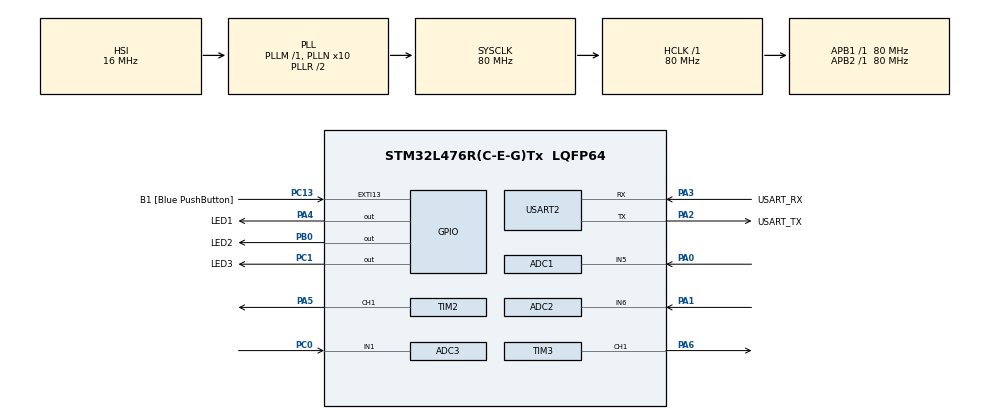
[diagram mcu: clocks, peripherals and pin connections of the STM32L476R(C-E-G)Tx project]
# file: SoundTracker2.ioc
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ADC1.Channel-1\#ChannelRegularConversion=ADC_CHANNEL_5
ADC1.ContinuousConvMode=DISABLE
ADC1.DMAContinuousRequests=ENABLE
ADC1.NbrOfConversionFlag=1
ADC1.OffsetNumber-1\#ChannelRegularConversion=ADC_OFFSET_NONE
ADC1.Rank-1\#ChannelRegularConversion=1
ADC1.SamplingTime-1\#ChannelRegularConversion=ADC_SAMPLETIME_2CYCLES_5
ADC1.master=1
ADC2.Channel-0\#ChannelRegularConversion=ADC_CHANNEL_6
ADC2.ContinuousConvMode=DISABLE
ADC2.DMAContinuousRequests=DISABLE
ADC2.NbrOfConversionFlag=1
ADC2.OffsetNumber-0\#ChannelRegularConversion=ADC_OFFSET_NONE
ADC2.Rank-0\#ChannelRegularConversion=1
ADC2.SamplingTime-0\#ChannelRegularConversion=ADC_SAMPLETIME_2CYCLES_5
ADC3.Channel-0\#ChannelRegularConversion=ADC_CHANNEL_1
ADC3.ContinuousConvMode=DISABLE
ADC3.DMAContinuousRequests=DISABLE
ADC3.NbrOfConversionFlag=1
ADC3.OffsetNumber-0\#ChannelRegularConversion=ADC_OFFSET_NONE
ADC3.Rank-0\#ChannelRegularConversion=1
ADC3.SamplingTime-0\#ChannelRegularConversion=ADC_SAMPLETIME_2CYCLES_5
Dma.ADC1.0.Direction=DMA_PERIPH_TO_MEMORY
Dma.ADC1.0.Instance=DMA1_Channel1
Dma.ADC1.0.MemDataAlignment=DMA_MDATAALIGN_HALFWORD
Dma.ADC1.0.MemInc=DMA_MINC_ENABLE
Dma.ADC1.0.Mode=DMA_CIRCULAR
Dma.ADC1.0.PeriphDataAlignment=DMA_PDATAALIGN_HALFWORD
Dma.ADC1.0.PeriphInc=DMA_PINC_DISABLE
Dma.ADC1.0.Priority=DMA_PRIORITY_HIGH
Dma.Request0=ADC1
Mcu.Family=STM32L4
Mcu.Name=STM32L476R(C-E-G)Tx
Mcu.Package=LQFP64
NVIC.DMA1_Channel1_IRQn=true\:0\:0\:false\:false\:true\:false\:true\:true
NVIC.PriorityGroup=NVIC_PRIORITYGROUP_4
PA0.Signal=ADCx_IN5
PA1.Signal=ADCx_IN6
PA13\ (JTMS-SWDIO).GPIO_Label=TMS
PA13\ (JTMS-SWDIO).Mode=Serial_Wire
PA13\ (JTMS-SWDIO).Signal=SYS_JTMS-SWDIO
PA14\ (JTCK-SWCLK).GPIO_Label=TCK
PA14\ (JTCK-SWCLK).Mode=Serial_Wire
PA14\ (JTCK-SWCLK).Signal=SYS_JTCK-SWCLK
PA2.GPIO_Label=USART_TX
PA2.GPIO_Mode=GPIO_MODE_AF_PP
PA2.GPIO_PuPd=GPIO_NOPULL
PA2.GPIO_Speed=GPIO_SPEED_FREQ_VERY_HIGH
PA2.Mode=Asynchronous
PA2.Signal=USART2_TX
PA3.GPIO_Label=USART_RX
PA3.GPIO_Mode=GPIO_MODE_AF_PP
PA3.GPIO_PuPd=GPIO_NOPULL
PA3.GPIO_Speed=GPIO_SPEED_FREQ_VERY_HIGH
PA3.Mode=Asynchronous
PA3.Signal=USART2_RX
PA4.GPIO_Label=LED1
PA4.Signal=GPIO_Output
PA5.Signal=S_TIM2_CH1
PA6.Signal=S_TIM3_CH1
PB0.GPIO_Label=LED2
PB0.Signal=GPIO_Output
PB3\ (JTDO-TRACESWO).GPIO_Label=SWO
PB3\ (JTDO-TRACESWO).Signal=SYS_JTDO-SWO
PC0.Signal=ADCx_IN1
PC1.GPIO_Label=LED3
PC1.Signal=GPIO_Output
PC13.GPIO_Label=B1 [Blue PushButton]
PC13.GPIO_ModeDefaultEXTI=GPIO_MODE_IT_FALLING
PC13.GPIO_PuPd=GPIO_NOPULL
PC13.Signal=GPXTI13
PC14-OSC32_IN\ (PC14).Mode=LSE-External-Oscillator
PC14-OSC32_IN\ (PC14).Signal=RCC_OSC32_IN
PC15-OSC32_OUT\ (PC15).Mode=LSE-External-Oscillator
PC15-OSC32_OUT\ (PC15).Signal=RCC_OSC32_OUT
PH0-OSC_IN\ (PH0).Signal=RCC_OSC_IN
PH1-OSC_OUT\ (PH1).Signal=RCC_OSC_OUT
ProjectManager.HeapSize=0x200
ProjectManager.StackSize=0x400
ProjectManager.TargetToolchain=STM32CubeIDE
RCC.ADCFreq_Value=64000000
RCC.AHBFreq_Value=80000000
RCC.APB1Freq_Value=80000000
RCC.APB1TimFreq_Value=80000000
RCC.APB2Freq_Value=80000000
RCC.APB2TimFreq_Value=80000000
RCC.CortexFreq_Value=80000000
RCC.HCLKFreq_Value=80000000
RCC.HSE_VALUE=8000000
RCC.HSI_VALUE=16000000
RCC.MSI_VALUE=4000000
RCC.PLLN=10
RCC.PLLSourceVirtual=RCC_PLLSOURCE_HSI
RCC.PREFETCH_ENABLE=1
RCC.SYSCLKFreq_VALUE=80000000
RCC.SYSCLKSource=RCC_SYSCLKSOURCE_PLLCLK
RCC.USBFreq_Value=64000000
RCC.VCOOutputFreq_Value=160000000
SH.ADCx_IN1.0=ADC3_IN1,IN1-Single-Ended
SH.ADCx_IN5.0=ADC1_IN5,IN5-Single-Ended
SH.ADCx_IN6.0=ADC2_IN6,IN6-Single-Ended
SH.S_TIM2_CH1.0=TIM2_CH1,PWM Generation1 CH1
SH.S_TIM3_CH1.0=TIM3_CH1,PWM Generation1 CH1
TIM2.Channel-PWM\ Generation1\ CH1=TIM_CHANNEL_1
TIM2.Period=20000
TIM2.Prescaler=71
TIM2.Pulse-PWM\ Generation1\ CH1=0
TIM3.Channel-PWM\ Generation1\ CH1=TIM_CHANNEL_1
TIM3.Period=20000
TIM3.Prescaler=71
TIM3.Pulse-PWM\ Generation1\ CH1=600
USART2.VirtualMode-Asynchronous=VM_ASYNC
board=NUCLEO-L476RG

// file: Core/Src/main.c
/* USER CODE BEGIN Header */
/**
  ******************************************************************************
  * @file           : main.c
  * @brief          : Main program body
  ******************************************************************************
  * @attention
  *
  * Copyright (c) 2025 STMicroelectronics.
  * All rights reserved.
  *
  * This software is licensed under terms that can be found in the LICENSE file
  * in the root directory of this software component.
  * If no LICENSE file comes with this software, it is provided AS-IS.
  *
  ******************************************************************************
  */
/* USER CODE END Header */
#include "main.h"

ADC_HandleTypeDef hadc1;
ADC_HandleTypeDef hadc2;
ADC_HandleTypeDef hadc3;
DMA_HandleTypeDef hdma_adc1;

TIM_HandleTypeDef htim2;
TIM_HandleTypeDef htim3;

UART_HandleTypeDef huart2;

/* USER CODE BEGIN PV */

#define BUFFER_SIZE 1  // Buffer size for ADC data
uint16_t adc_buffer[BUFFER_SIZE];  // ADC1 data storage
uint16_t adc_buffer2[BUFFER_SIZE];  // ADC2 data storage
uint16_t adc_buffer3[BUFFER_SIZE];  // ADC3 data storage

#ifndef M_PI
#define M_PI 3.14159265358979323846
#endif

volatile int current_adc = 0;
volatile uint8_t adc_busy = 0;

// At the top of your file
uint32_t mic1Time = 0;
uint32_t mic2Time = 0;
uint32_t mic3Time = 0;

/* USER CODE END PV */

void SystemClock_Config(void);
void PeriphCommonClock_Config(void);
static void MX_GPIO_Init(void);
static void MX_DMA_Init(void);
static void MX_USART2_UART_Init(void);
static void MX_ADC1_Init(void);
static void MX_ADC2_Init(void);
static void MX_ADC3_Init(void);
static void MX_TIM2_Init(void);
static void MX_TIM3_Init(void);

/* USER CODE BEGIN 0 */

uint32_t getMicroTime(void) {
    return DWT->CYCCNT / (HAL_RCC_GetHCLKFreq() / 1000000);
}

/* USER CODE END 0 */

int main(void)
{

  /* USER CODE BEGIN 1 */

	// Enable DWT for microsecond timing
	CoreDebug->DEMCR |= CoreDebug_DEMCR_TRCENA_Msk;
	DWT->CYCCNT = 0;
	DWT->CTRL |= DWT_CTRL_CYCCNTENA_Msk;

  /* USER CODE END 1 */

  /* MCU Configuration--------------------------------------------------------*/

  /* Reset of all peripherals, Initializes the Flash interface and the Systick. */
  HAL_Init();

  /* Configure the system clock */
  SystemClock_Config();

  /* Configure the peripherals common clocks */
  PeriphCommonClock_Config();

  /* Initialize all configured peripherals */
  MX_GPIO_Init();
  MX_DMA_Init();
  MX_USART2_UART_Init();
  MX_ADC1_Init();
  MX_ADC2_Init();
  MX_ADC3_Init();
  MX_TIM2_Init();
  MX_TIM3_Init();
  /* USER CODE BEGIN 2 */

  HAL_TIM_PWM_Start(&htim2, TIM_CHANNEL_1);
  HAL_TIM_PWM_Start(&htim3, TIM_CHANNEL_1);

  //reset the motors to 0 on startup
	__HAL_TIM_SET_COMPARE(&htim2, TIM_CHANNEL_1, 600);
	__HAL_TIM_SET_COMPARE(&htim3, TIM_CHANNEL_1, 600);

  /* USER CODE END 2 */

  /* Infinite loop */
  while (1)
  {

    /* USER CODE BEGIN 3 */

	  	//start analog to digital control for mics
	    uint32_t adc_val1, adc_val2, adc_val3;
	    uint32_t now = HAL_GetTick();
	    // --- ADC1 ---
	    HAL_ADC_Start(&hadc1);
	    // --- ADC2 ---
	    HAL_ADC_Start(&hadc2);
	    // --- ADC3 ---
	    HAL_ADC_Start(&hadc3);

	    // Clear LEDs every .5 seconds
	    // reset trigger timer so mics don't sample while the motors are turning
	    static uint32_t last_trigger = 0;
	    if (now - last_trigger >= 500) {
	        HAL_GPIO_WritePin(LED1_GPIO_Port, LED1_Pin, 0);
	        HAL_GPIO_WritePin(LED2_GPIO_Port, LED2_Pin, 0);
	        HAL_GPIO_WritePin(LED3_GPIO_Port, LED3_Pin, 0);
	        last_trigger = 0;
	    }

	    //Sample all three mics as fast as the while loop can go
	    //When mic1 hears a loud sound, record the time in milliseconds
	    if (HAL_ADC_PollForConversion(&hadc1, 1) == HAL_OK && !mic1Time && !last_trigger) {
	        adc_val1 = HAL_ADC_GetValue(&hadc1);
	        if (adc_val1 <= 500 || adc_val1 >= 2500) {
	            mic1Time = getMicroTime();
	        }
	    }

	    //When mic2 hears a loud sound, record the time in milliseconds
	    if (HAL_ADC_PollForConversion(&hadc2, 1) == HAL_OK && !mic2Time && !last_trigger) {
	        adc_val2 = HAL_ADC_GetValue(&hadc2);
	        if (adc_val2 <= 500 || adc_val2 >= 2500) {
	            mic2Time = getMicroTime();
	        }
	    }

	    //When mic3 hears a loud sound, record the time in milliseconds
	    if (HAL_ADC_PollForConversion(&hadc3, 1) == HAL_OK && !mic3Time && !last_trigger) {
	        adc_val3 = HAL_ADC_GetValue(&hadc3);
	        if (adc_val3 <= 500 || adc_val3 >= 2500) {
	            mic3Time = getMicroTime();
	        }
	    }

	    // if all mics have heard a loud sound:
	    //use the time differences to calculate the angle the sound came from,
	    //pause sampling and indicate the pause with an led
	    //point the servo motors in the direction of the sound using pwm
	    if (mic1Time && mic2Time && mic3Time){

	    	//turn on a light to indicate which mic heard the sound first.
	    	if (mic1Time <= mic2Time && mic1Time <= mic3Time){
	    		HAL_GPIO_WritePin(LED1_GPIO_Port, LED1_Pin, 1);
	    	}
	    	else if (mic2Time <= mic1Time && mic2Time <= mic3Time){
	    		HAL_GPIO_WritePin(LED2_GPIO_Port, LED2_Pin, 1);
	    	}
	    	else if (mic3Time <= mic2Time && mic3Time <= mic1Time){
	    		HAL_GPIO_WritePin(LED3_GPIO_Port, LED3_Pin, 1);
	    	}

	    	//convert micro seconds into seconds for the calculation
	    	float mic1Seconds = mic1Time / 1e6f;
	    	float mic2Seconds = mic2Time / 1e6f;
	    	float mic3Seconds = mic3Time / 1e6f;

	    	//determine weights for the weighted average based on when each mic heard the sound
	    	float w1 = 1.0f / (mic1Seconds + 1e-6f);
	    	float w2 = 1.0f / (mic2Seconds + 1e-6f);
	    	float w3 = 1.0f / (mic3Seconds + 1e-6f);

	    	//mic1 is located at 0 degrees. Use this to determine where it is relative to the others
	    	float mic1x = cosf(0.0f * M_PI / 180.0f);
	    	float mic1y = sinf(0.0f * M_PI / 180.0f);

	    	//mic2 is located at 120 degrees. Use this to determine where it is relative to the others
	    	float mic2x = cosf(120.0f * M_PI / 180.0f);
	    	float mic2y = sinf(120.0f * M_PI / 180.0f);

	    	//mic3 is located at 240 degrees. Use this to determine where it is relative to the others
	    	float mic3x = cosf(240.0f * M_PI / 180.0f);
	    	float mic3y = sinf(240.0f * M_PI / 180.0f);

	    	//create a vector pointed in the direction of the sound based off the weighted averages
	    	float dx = (w1 * mic1x + w2 * mic2x + w3 * mic3x);
	    	float dy = (w1 * mic1y + w2 * mic2y + w3 * mic3y);

	    	//use inverse tangent to calculate the angle of the vector (the direction of the sound)
	    	float angle_rad = atan2f(dy, dx);
	    	//convert to degrees
	    	float angle_deg = angle_rad * 180.0f / M_PI;
	    	if (angle_deg < 0) angle_deg += 360.0f;

	    	//since the servo motors can only turn 180 degrees, we need a stack of two to achieve 360 range.
	    	//turn the first motor to the calculated angle if the angle is less than 180
	    	if (angle_deg < 180){
	    		uint16_t pulse = 600 + (angle_deg * 2250) / 180; //map the angle to a valid pwm signal
	    		__HAL_TIM_SET_COMPARE(&htim3, TIM_CHANNEL_1, 600); //set the second motor to angle 0
	    		__HAL_TIM_SET_COMPARE(&htim2, TIM_CHANNEL_1, pulse); //set the first motor to the calculated angle
	    	}
	    	else{
	    		//if the angle is greater than 180, turn the first motor all the way, and then make up the difference with the second motor
	    		uint16_t pulse = 600 + ((angle_deg - 180) * 2250) / 180; //map the angle to a valid pwm signal
	    		__HAL_TIM_SET_COMPARE(&htim2, TIM_CHANNEL_1, 2850); //turn the first motor all the way
	    		__HAL_TIM_SET_COMPARE(&htim3, TIM_CHANNEL_1, pulse); //set the second motor to the calculated angle
	    	}

	    	//reset variables so that the mics can start sampling again after the timer is done
	    	last_trigger = now;
	    	mic1Time = 0;
	    	mic2Time = 0;
	    	mic3Time = 0;
	    }
  }
  /* USER CODE END 3 */
}

void SystemClock_Config(void)
{
  RCC_OscInitTypeDef RCC_OscInitStruct = {0};
  RCC_ClkInitTypeDef RCC_ClkInitStruct = {0};

  /** Configure the main internal regulator output voltage
  */
  if (HAL_PWREx_ControlVoltageScaling(PWR_REGULATOR_VOLTAGE_SCALE1) != HAL_OK)
  {
    Error_Handler();
  }

  /** Initializes the RCC Oscillators according to the specified parameters
  * in the RCC_OscInitTypeDef structure.
  */
  RCC_OscInitStruct.OscillatorType = RCC_OSCILLATORTYPE_HSI;
  RCC_OscInitStruct.HSIState = RCC_HSI_ON;
  RCC_OscInitStruct.HSICalibrationValue = RCC_HSICALIBRATION_DEFAULT;
  RCC_OscInitStruct.PLL.PLLState = RCC_PLL_ON;
  RCC_OscInitStruct.PLL.PLLSource = RCC_PLLSOURCE_HSI;
  RCC_OscInitStruct.PLL.PLLM = 1;
  RCC_OscInitStruct.PLL.PLLN = 10;
  RCC_OscInitStruct.PLL.PLLP = RCC_PLLP_DIV7;
  RCC_OscInitStruct.PLL.PLLQ = RCC_PLLQ_DIV2;
  RCC_OscInitStruct.PLL.PLLR = RCC_PLLR_DIV2;
  if (HAL_RCC_OscConfig(&RCC_OscInitStruct) != HAL_OK)
  {
    Error_Handler();
  }

  /** Initializes the CPU, AHB and APB buses clocks
  */
  RCC_ClkInitStruct.ClockType = RCC_CLOCKTYPE_HCLK|RCC_CLOCKTYPE_SYSCLK
                              |RCC_CLOCKTYPE_PCLK1|RCC_CLOCKTYPE_PCLK2;
  RCC_ClkInitStruct.SYSCLKSource = RCC_SYSCLKSOURCE_PLLCLK;
  RCC_ClkInitStruct.AHBCLKDivider = RCC_SYSCLK_DIV1;
  RCC_ClkInitStruct.APB1CLKDivider = RCC_HCLK_DIV1;
  RCC_ClkInitStruct.APB2CLKDivider = RCC_HCLK_DIV1;

  if (HAL_RCC_ClockConfig(&RCC_ClkInitStruct, FLASH_LATENCY_4) != HAL_OK)
  {
    Error_Handler();
  }
}

void PeriphCommonClock_Config(void)
{
  RCC_PeriphCLKInitTypeDef PeriphClkInit = {0};

  /** Initializes the peripherals clock
  */
  PeriphClkInit.PeriphClockSelection = RCC_PERIPHCLK_ADC;
  PeriphClkInit.AdcClockSelection = RCC_ADCCLKSOURCE_PLLSAI1;
  PeriphClkInit.PLLSAI1.PLLSAI1Source = RCC_PLLSOURCE_HSI;
  PeriphClkInit.PLLSAI1.PLLSAI1M = 1;
  PeriphClkInit.PLLSAI1.PLLSAI1N = 8;
  PeriphClkInit.PLLSAI1.PLLSAI1P = RCC_PLLP_DIV7;
  PeriphClkInit.PLLSAI1.PLLSAI1Q = RCC_PLLQ_DIV2;
  PeriphClkInit.PLLSAI1.PLLSAI1R = RCC_PLLR_DIV2;
  PeriphClkInit.PLLSAI1.PLLSAI1ClockOut = RCC_PLLSAI1_ADC1CLK;
  if (HAL_RCCEx_PeriphCLKConfig(&PeriphClkInit) != HAL_OK)
  {
    Error_Handler();
  }
}

static void MX_ADC1_Init(void)
{

  ADC_MultiModeTypeDef multimode = {0};
  ADC_ChannelConfTypeDef sConfig = {0};

  /** Common config
  */
  hadc1.Instance = ADC1;
  hadc1.Init.ClockPrescaler = ADC_CLOCK_ASYNC_DIV1;
  hadc1.Init.Resolution = ADC_RESOLUTION_12B;
  hadc1.Init.DataAlign = ADC_DATAALIGN_RIGHT;
  hadc1.Init.ScanConvMode = ADC_SCAN_DISABLE;
  hadc1.Init.EOCSelection = ADC_EOC_SINGLE_CONV;
  hadc1.Init.LowPowerAutoWait = DISABLE;
  hadc1.Init.ContinuousConvMode = DISABLE;
  hadc1.Init.NbrOfConversion = 1;
  hadc1.Init.DiscontinuousConvMode = DISABLE;
  hadc1.Init.ExternalTrigConv = ADC_SOFTWARE_START;
  hadc1.Init.ExternalTrigConvEdge = ADC_EXTERNALTRIGCONVEDGE_NONE;
  hadc1.Init.DMAContinuousRequests = ENABLE;
  hadc1.Init.Overrun = ADC_OVR_DATA_PRESERVED;
  hadc1.Init.OversamplingMode = DISABLE;
  if (HAL_ADC_Init(&hadc1) != HAL_OK)
  {
    Error_Handler();
  }

  /** Configure the ADC multi-mode
  */
  multimode.Mode = ADC_MODE_INDEPENDENT;
  if (HAL_ADCEx_MultiModeConfigChannel(&hadc1, &multimode) != HAL_OK)
  {
    Error_Handler();
  }

  /** Configure Regular Channel
  */
  sConfig.Channel = ADC_CHANNEL_5;
  sConfig.Rank = ADC_REGULAR_RANK_1;
  sConfig.SamplingTime = ADC_SAMPLETIME_2CYCLES_5;
  sConfig.SingleDiff = ADC_SINGLE_ENDED;
  sConfig.OffsetNumber = ADC_OFFSET_NONE;
  sConfig.Offset = 0;
  if (HAL_ADC_ConfigChannel(&hadc1, &sConfig) != HAL_OK)
  {
    Error_Handler();
  }
  /* USER CODE BEGIN ADC1_Init 2 */

  __HAL_LINKDMA(&hadc1, DMA_Handle, hdma_adc1);

  /* USER CODE END ADC1_Init 2 */

}

static void MX_ADC2_Init(void)
{

  ADC_ChannelConfTypeDef sConfig = {0};

  /** Common config
  */
  hadc2.Instance = ADC2;
  hadc2.Init.ClockPrescaler = ADC_CLOCK_ASYNC_DIV1;
  hadc2.Init.Resolution = ADC_RESOLUTION_12B;
  hadc2.Init.DataAlign = ADC_DATAALIGN_RIGHT;
  hadc2.Init.ScanConvMode = ADC_SCAN_DISABLE;
  hadc2.Init.EOCSelection = ADC_EOC_SINGLE_CONV;
  hadc2.Init.LowPowerAutoWait = DISABLE;
  hadc2.Init.ContinuousConvMode = DISABLE;
  hadc2.Init.NbrOfConversion = 1;
  hadc2.Init.DiscontinuousConvMode = DISABLE;
  hadc2.Init.ExternalTrigConv = ADC_SOFTWARE_START;
  hadc2.Init.ExternalTrigConvEdge = ADC_EXTERNALTRIGCONVEDGE_NONE;
  hadc2.Init.DMAContinuousRequests = DISABLE;
  hadc2.Init.Overrun = ADC_OVR_DATA_PRESERVED;
  hadc2.Init.OversamplingMode = DISABLE;
  if (HAL_ADC_Init(&hadc2) != HAL_OK)
  {
    Error_Handler();
  }

  /** Configure Regular Channel
  */
  sConfig.Channel = ADC_CHANNEL_6;
  sConfig.Rank = ADC_REGULAR_RANK_1;
  sConfig.SamplingTime = ADC_SAMPLETIME_2CYCLES_5;
  sConfig.SingleDiff = ADC_SINGLE_ENDED;
  sConfig.OffsetNumber = ADC_OFFSET_NONE;
  sConfig.Offset = 0;
  if (HAL_ADC_ConfigChannel(&hadc2, &sConfig) != HAL_OK)
  {
    Error_Handler();
  }

}

static void MX_ADC3_Init(void)
{

  ADC_ChannelConfTypeDef sConfig = {0};

  /** Common config
  */
  hadc3.Instance = ADC3;
  hadc3.Init.ClockPrescaler = ADC_CLOCK_ASYNC_DIV1;
  hadc3.Init.Resolution = ADC_RESOLUTION_12B;
  hadc3.Init.DataAlign = ADC_DATAALIGN_RIGHT;
  hadc3.Init.ScanConvMode = ADC_SCAN_DISABLE;
  hadc3.Init.EOCSelection = ADC_EOC_SINGLE_CONV;
  hadc3.Init.LowPowerAutoWait = DISABLE;
  hadc3.Init.ContinuousConvMode = DISABLE;
  hadc3.Init.NbrOfConversion = 1;
  hadc3.Init.DiscontinuousConvMode = DISABLE;
  hadc3.Init.ExternalTrigConv = ADC_SOFTWARE_START;
  hadc3.Init.ExternalTrigConvEdge = ADC_EXTERNALTRIGCONVEDGE_NONE;
  hadc3.Init.DMAContinuousRequests = DISABLE;
  hadc3.Init.Overrun = ADC_OVR_DATA_PRESERVED;
  hadc3.Init.OversamplingMode = DISABLE;
  if (HAL_ADC_Init(&hadc3) != HAL_OK)
  {
    Error_Handler();
  }

  /** Configure Regular Channel
  */
  sConfig.Channel = ADC_CHANNEL_1;
  sConfig.Rank = ADC_REGULAR_RANK_1;
  sConfig.SamplingTime = ADC_SAMPLETIME_2CYCLES_5;
  sConfig.SingleDiff = ADC_SINGLE_ENDED;
  sConfig.OffsetNumber = ADC_OFFSET_NONE;
  sConfig.Offset = 0;
  if (HAL_ADC_ConfigChannel(&hadc3, &sConfig) != HAL_OK)
  {
    Error_Handler();
  }

}

static void MX_TIM2_Init(void)
{

  TIM_MasterConfigTypeDef sMasterConfig = {0};
  TIM_OC_InitTypeDef sConfigOC = {0};

  htim2.Instance = TIM2;
  htim2.Init.Prescaler = 71;
  htim2.Init.CounterMode = TIM_COUNTERMODE_UP;
  htim2.Init.Period = 20000;
  htim2.Init.ClockDivision = TIM_CLOCKDIVISION_DIV1;
  htim2.Init.AutoReloadPreload = TIM_AUTORELOAD_PRELOAD_DISABLE;
  if (HAL_TIM_PWM_Init(&htim2) != HAL_OK)
  {
    Error_Handler();
  }
  sMasterConfig.MasterOutputTrigger = TIM_TRGO_RESET;
  sMasterConfig.MasterSlaveMode = TIM_MASTERSLAVEMODE_DISABLE;
  if (HAL_TIMEx_MasterConfigSynchronization(&htim2, &sMasterConfig) != HAL_OK)
  {
    Error_Handler();
  }
  sConfigOC.OCMode = TIM_OCMODE_PWM1;
  sConfigOC.Pulse = 0;
  sConfigOC.OCPolarity = TIM_OCPOLARITY_HIGH;
  sConfigOC.OCFastMode = TIM_OCFAST_DISABLE;
  if (HAL_TIM_PWM_ConfigChannel(&htim2, &sConfigOC, TIM_CHANNEL_1) != HAL_OK)
  {
    Error_Handler();
  }
  HAL_TIM_MspPostInit(&htim2);

}

static void MX_TIM3_Init(void)
{

  TIM_MasterConfigTypeDef sMasterConfig = {0};
  TIM_OC_InitTypeDef sConfigOC = {0};

  htim3.Instance = TIM3;
  htim3.Init.Prescaler = 71;
  htim3.Init.CounterMode = TIM_COUNTERMODE_UP;
  htim3.Init.Period = 20000;
  htim3.Init.ClockDivision = TIM_CLOCKDIVISION_DIV1;
  htim3.Init.AutoReloadPreload = TIM_AUTORELOAD_PRELOAD_DISABLE;
  if (HAL_TIM_PWM_Init(&htim3) != HAL_OK)
  {
    Error_Handler();
  }
  sMasterConfig.MasterOutputTrigger = TIM_TRGO_RESET;
  sMasterConfig.MasterSlaveMode = TIM_MASTERSLAVEMODE_DISABLE;
  if (HAL_TIMEx_MasterConfigSynchronization(&htim3, &sMasterConfig) != HAL_OK)
  {
    Error_Handler();
  }
  sConfigOC.OCMode = TIM_OCMODE_PWM1;
  sConfigOC.Pulse = 600;
  sConfigOC.OCPolarity = TIM_OCPOLARITY_HIGH;
  sConfigOC.OCFastMode = TIM_OCFAST_DISABLE;
  if (HAL_TIM_PWM_ConfigChannel(&htim3, &sConfigOC, TIM_CHANNEL_1) != HAL_OK)
  {
    Error_Handler();
  }
  HAL_TIM_MspPostInit(&htim3);

}

static void MX_USART2_UART_Init(void)
{

  huart2.Instance = USART2;
  huart2.Init.BaudRate = 115200;
  huart2.Init.WordLength = UART_WORDLENGTH_8B;
  huart2.Init.StopBits = UART_STOPBITS_1;
  huart2.Init.Parity = UART_PARITY_NONE;
  huart2.Init.Mode = UART_MODE_TX_RX;
  huart2.Init.HwFlowCtl = UART_HWCONTROL_NONE;
  huart2.Init.OverSampling = UART_OVERSAMPLING_16;
  huart2.Init.OneBitSampling = UART_ONE_BIT_SAMPLE_DISABLE;
  huart2.AdvancedInit.AdvFeatureInit = UART_ADVFEATURE_NO_INIT;
  if (HAL_UART_Init(&huart2) != HAL_OK)
  {
    Error_Handler();
  }

}

static void MX_DMA_Init(void)
{

  /* DMA controller clock enable */
  __HAL_RCC_DMA1_CLK_ENABLE();

  /* DMA interrupt init */
  /* DMA1_Channel1_IRQn interrupt configuration */
  HAL_NVIC_SetPriority(DMA1_Channel1_IRQn, 0, 0);
  HAL_NVIC_EnableIRQ(DMA1_Channel1_IRQn);

}

static void MX_GPIO_Init(void)
{
  GPIO_InitTypeDef GPIO_InitStruct = {0};

  /* GPIO Ports Clock Enable */
  __HAL_RCC_GPIOC_CLK_ENABLE();
  __HAL_RCC_GPIOH_CLK_ENABLE();
  __HAL_RCC_GPIOA_CLK_ENABLE();
  __HAL_RCC_GPIOB_CLK_ENABLE();

  /*Configure GPIO pin Output Level */
  HAL_GPIO_WritePin(LED3_GPIO_Port, LED3_Pin, GPIO_PIN_RESET);

  /*Configure GPIO pin Output Level */
  HAL_GPIO_WritePin(LED1_GPIO_Port, LED1_Pin, GPIO_PIN_RESET);

  /*Configure GPIO pin Output Level */
  HAL_GPIO_WritePin(LED2_GPIO_Port, LED2_Pin, GPIO_PIN_RESET);

  /*Configure GPIO pin : B1_Pin */
  GPIO_InitStruct.Pin = B1_Pin;
  GPIO_InitStruct.Mode = GPIO_MODE_IT_FALLING;
  GPIO_InitStruct.Pull = GPIO_NOPULL;
  HAL_GPIO_Init(B1_GPIO_Port, &GPIO_InitStruct);

  /*Configure GPIO pin : LED3_Pin */
  GPIO_InitStruct.Pin = LED3_Pin;
  GPIO_InitStruct.Mode = GPIO_MODE_OUTPUT_PP;
  GPIO_InitStruct.Pull = GPIO_NOPULL;
  GPIO_InitStruct.Speed = GPIO_SPEED_FREQ_LOW;
  HAL_GPIO_Init(LED3_GPIO_Port, &GPIO_InitStruct);

  /*Configure GPIO pin : LED1_Pin */
  GPIO_InitStruct.Pin = LED1_Pin;
  GPIO_InitStruct.Mode = GPIO_MODE_OUTPUT_PP;
  GPIO_InitStruct.Pull = GPIO_NOPULL;
  GPIO_InitStruct.Speed = GPIO_SPEED_FREQ_LOW;
  HAL_GPIO_Init(LED1_GPIO_Port, &GPIO_InitStruct);

  /*Configure GPIO pin : LED2_Pin */
  GPIO_InitStruct.Pin = LED2_Pin;
  GPIO_InitStruct.Mode = GPIO_MODE_OUTPUT_PP;
  GPIO_InitStruct.Pull = GPIO_NOPULL;
  GPIO_InitStruct.Speed = GPIO_SPEED_FREQ_LOW;
  HAL_GPIO_Init(LED2_GPIO_Port, &GPIO_InitStruct);

}

void Error_Handler(void)
{
  __disable_irq();
  while (1)
  {
  }
}
